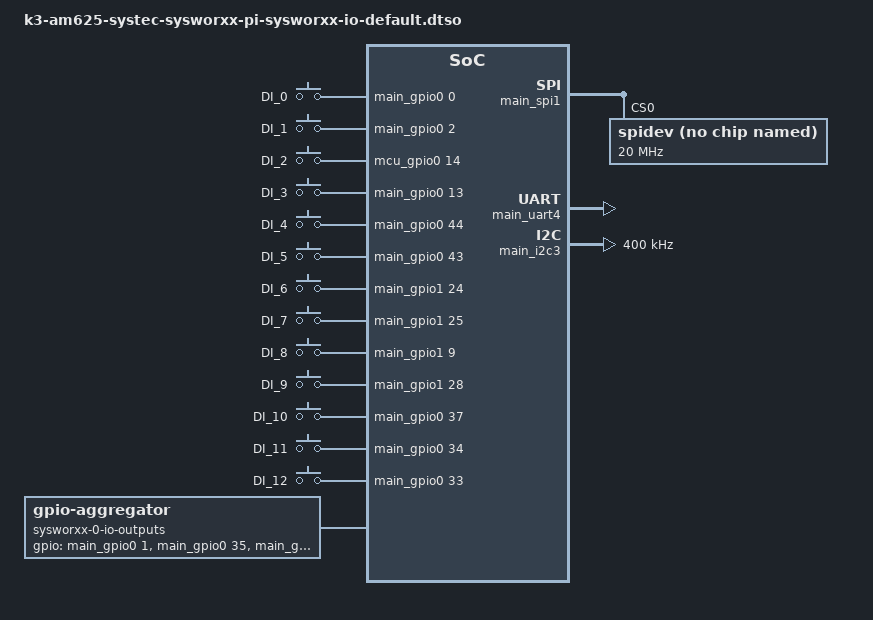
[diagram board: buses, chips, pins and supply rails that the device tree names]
// SPDX-License-Identifier: GPL-2.0

/**
 * Copyright (C) 2025 SYS TEC electronic AG
 *
 * Basic device tree overlay
 */

/dts-v1/;
/plugin/;

#include <dt-bindings/gpio/gpio.h>
#include <dt-bindings/input/input.h>
#include "k3-pinctrl.h"

&main_pmx0 {
	spi1_pins_default: spi1-default-pins {
		pinctrl-single,pins = <
			AM62X_IOPAD(0x0020, PIN_OUTPUT, 1) /* (J25) OSPI0_D5.SPI1_CLK */
			AM62X_IOPAD(0x0024, PIN_OUTPUT, 1) /* (H25) OSPI0_D6.SPI1_D0 */
			AM62X_IOPAD(0x0028, PIN_INPUT, 1) /* (J22) OSPI0_D7.SPI1_D1 */
			AM62X_IOPAD(0x001c, PIN_OUTPUT, 1) /* (J23) OSPI0_D4.SPI1_CS0 */
		>;
	};

	uart4_pins_default: uart4-default-pins {
		pinctrl-single,pins = <
			AM62X_IOPAD(0x0124, PIN_INPUT_PULLUP, 3) /* (A23) MMC2_SDCD.UART4_RXD */
			AM62X_IOPAD(0x0128, PIN_OUTPUT, 3) /* (B23) MMC2_SDWP.UART4_TXD */
		>;
	};

	i2c3_pins_default: i2c3-default-pins {
		pinctrl-single,pins = <
			AM62X_IOPAD(0x01d0, PIN_OUTPUT, 2) /* (A15) UART0_CTSn.I2C3_SCL */
			AM62X_IOPAD(0x01d4, PIN_INPUT, 2) /* (B15) UART0_RTSn.I2C3_SDA */
		>;
	};

	gpio0_pins_inputs: gpio0-pins-inputs {
		pinctrl-single,pins = <
			AM62X_IOPAD(0x0000, PIN_INPUT_PULLDOWN, 7) /* (H24) OSPI0_CLK.GPIO0_0 */
			AM62X_IOPAD(0x0008, PIN_INPUT_PULLDOWN, 7) /* (J24) OSPI0_DQS.GPIO0_2 */
			AM62X_IOPAD(0x0034, PIN_INPUT_PULLDOWN, 7) /* (H21) OSPI0_CSn2.GPIO0_13 */
			AM62X_IOPAD(0x00b4, PIN_INPUT_PULLDOWN, 7) /* (K24) GPMC0_CSn3.GPIO0_44 */
			AM62X_IOPAD(0x00b0, PIN_INPUT_PULLDOWN, 7) /* (K22) GPMC0_CSn2.GPIO0_43 */
			AM62X_IOPAD(0x0098, PIN_INPUT_PULLDOWN, 7) /* (U23) GPMC0_WAIT0.GPIO0_37 */
			AM62X_IOPAD(0x008c, PIN_INPUT_PULLDOWN, 7) /* (L25) GPMC0_WEn.GPIO0_34 */
			AM62X_IOPAD(0x0088, PIN_INPUT_PULLDOWN, 7) /* (L24) GPMC0_OEn_REn.GPIO0_33 */
		>;
	};

	gpio1_pins_inputs: gpio1-pins-inputs {
		pinctrl-single,pins = <
			AM62X_IOPAD(0x01d8, PIN_INPUT_PULLDOWN, 7) /* (C15) MCAN0_TX.GPIO1_24 */
			AM62X_IOPAD(0x01dc, PIN_INPUT_PULLDOWN, 7) /* (E15) MCAN0_RX.GPIO1_25 */
			AM62X_IOPAD(0x019c, PIN_INPUT_PULLDOWN, 7) /* (B18) MCASP0_AXR1.GPIO1_9 */
			AM62X_IOPAD(0x01e8, PIN_INPUT_PULLDOWN, 7) /* (B17) I2C1_SCL.GPIO1_28 */
		>;
	};

	gpio0_pins_outputs: gpio0-pins-outputs {
		pinctrl-single,pins = <
			AM62X_IOPAD(0x0004, PIN_OUTPUT, 7) /* (G25) OSPI0_LBCLKO.GPIO0_1 */
			AM62X_IOPAD(0x0090, PIN_OUTPUT, 7) /* (M24) GPMC0_BE0n_CLE.GPIO0_35 */
			AM62X_IOPAD(0x000c, PIN_OUTPUT, 7) /* (E25) OSPI0_D0.GPIO0_3 */
			AM62X_IOPAD(0x00a4, PIN_OUTPUT, 7) /* (M22) GPMC0_DIR.GPIO0_40 */
			AM62X_IOPAD(0x00a8, PIN_OUTPUT, 7) /* (M21) GPMC0_CSn0.GPIO0_41 */
			AM62X_IOPAD(0x0010, PIN_OUTPUT, 7) /* (G24) OSPI0_D1.GPIO0_4 */
		>;
	};
};

&mcu_pmx0 {
	mcu_gpio0_pins_inputs: mcu-gpio0-pins-inputs {
		pinctrl-single,pins = <
			AM62X_MCU_IOPAD(0x0038, PIN_INPUT_PULLDOWN, 7) /* (B3) MCU_MCAN0_RX.MCU_GPIO0_14 */
		>;
	};

	mcu_gpio0_pins_outputs: mcu-gpio0-pins-outputs {
		pinctrl-single,pins = <
			AM62X_MCU_IOPAD(0x0034, PIN_OUTPUT, 7) /* (D6) MCU_MCAN0_TX.MCU_GPIO0_13 */
		>;
	};
};

&{/} {
	sysworxx-0-io-inputs {
		pinctrl-names = "default";
		pinctrl-0 = <&gpio0_pins_inputs>, <&gpio1_pins_inputs>, <&mcu_gpio0_pins_inputs>;
		compatible = "gpio-keys";

		di@0 { label = "DI_0"; linux,code = <BTN_TRIGGER_HAPPY1>; gpios = <&main_gpio0 0  GPIO_ACTIVE_HIGH>; };
		di@1 { label = "DI_1"; linux,code = <BTN_TRIGGER_HAPPY2>; gpios = <&main_gpio0 2  GPIO_ACTIVE_HIGH>; };
		di@2 { label = "DI_2"; linux,code = <BTN_TRIGGER_HAPPY3>; gpios = <&mcu_gpio0 14  GPIO_ACTIVE_HIGH>; };
		di@3 { label = "DI_3"; linux,code = <BTN_TRIGGER_HAPPY4>; gpios = <&main_gpio0 13 GPIO_ACTIVE_HIGH>; };
		di@4 { label = "DI_4"; linux,code = <BTN_TRIGGER_HAPPY5>; gpios = <&main_gpio0 44 GPIO_ACTIVE_HIGH>; };
		di@5 { label = "DI_5"; linux,code = <BTN_TRIGGER_HAPPY6>; gpios = <&main_gpio0 43 GPIO_ACTIVE_HIGH>; };
		di@6 { label = "DI_6"; linux,code = <BTN_TRIGGER_HAPPY7>; gpios = <&main_gpio1 24 GPIO_ACTIVE_HIGH>; };
		di@7 { label = "DI_7"; linux,code = <BTN_TRIGGER_HAPPY8>; gpios = <&main_gpio1 25 GPIO_ACTIVE_HIGH>; };
		di@8 { label = "DI_8"; linux,code = <BTN_TRIGGER_HAPPY9>; gpios = <&main_gpio1 9  GPIO_ACTIVE_HIGH>; };
		di@9 { label = "DI_9"; linux,code = <BTN_TRIGGER_HAPPY10>; gpios = <&main_gpio1 28 GPIO_ACTIVE_HIGH>; };
		di@10 { label = "DI_10"; linux,code = <BTN_TRIGGER_HAPPY11>; gpios = <&main_gpio0 37 GPIO_ACTIVE_HIGH>; };
		di@11 { label = "DI_11"; linux,code = <BTN_TRIGGER_HAPPY12>; gpios = <&main_gpio0 34 GPIO_ACTIVE_HIGH>; };
		di@12 { label = "DI_12"; linux,code = <BTN_TRIGGER_HAPPY13>; gpios = <&main_gpio0 33 GPIO_ACTIVE_HIGH>; };
	};

	sysworxx-0-io-outputs {
		pinctrl-names = "default";
		pinctrl-0 = <&gpio0_pins_outputs>, <&mcu_gpio0_pins_outputs>;
		compatible = "gpio-aggregator";

		gpios = <&main_gpio0 1  GPIO_ACTIVE_HIGH>,
				<&main_gpio0 35 GPIO_ACTIVE_HIGH>,
				<&main_gpio0 3  GPIO_ACTIVE_HIGH>,
				<&mcu_gpio0 13  GPIO_ACTIVE_HIGH>,
				<&main_gpio0 40 GPIO_ACTIVE_HIGH>,
				<&main_gpio0 41 GPIO_ACTIVE_HIGH>,
				<&main_gpio0 4  GPIO_ACTIVE_HIGH>;
		gpio-line-names =	"DO_0",
							"DO_1",
							"DO_2",
							"DO_3",
							"DO_4",
							"DO_5",
							"DO_6";
	};
};

&main_spi1 {
	status = "okay";
	#address-cells = <1>;
	#size-cells = <0>;
	pinctrl-0 = <&spi1_pins_default>;
	pinctrl-names = "default";
	ti,pindir-d0-out-d1-in;

	spidev@0 {
		// Using spidev compatible is warned loudly,
		// thus use another equivalent compatible id
		// from spidev.
		compatible = "rohm,dh2228fv";
		spi-max-frequency = <20000000>;
		reg = <0>;
	};
};

&main_uart4 {
	pinctrl-names = "default";
	pinctrl-0 = <&uart4_pins_default>;
	status = "okay";
};

&main_i2c3 {
    status = "okay";
    pinctrl-names = "default";
    pinctrl-0 = <&i2c3_pins_default>;
    clock-frequency = <400000>;
};
